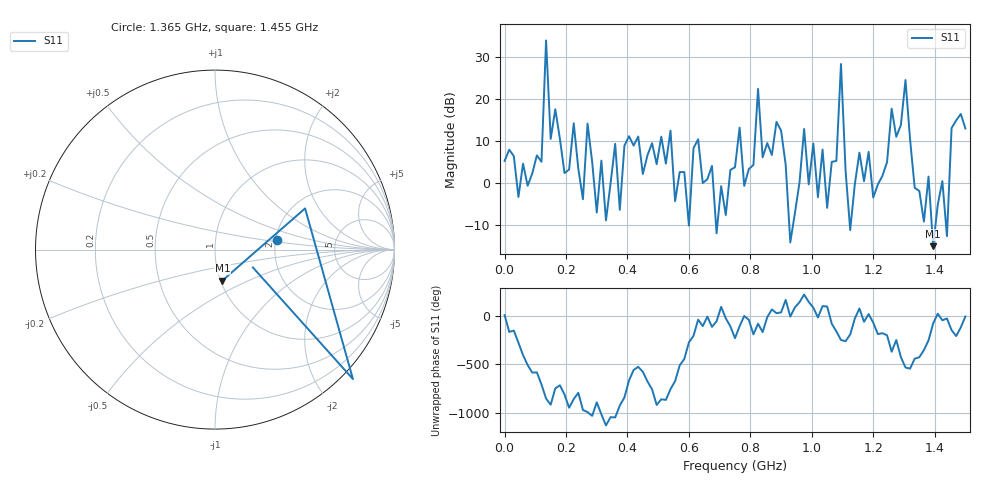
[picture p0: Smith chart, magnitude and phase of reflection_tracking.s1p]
! Created with skrf 1.8.0 (http://scikit-rf.org).
# Hz S RI R 50.0
!freq ReS11 ImS11
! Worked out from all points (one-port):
!   101 points, 50 kHz to 1.5 GHz, reference 50 ohm
!   lowest |S11| = -15.0 dB at 1.395 GHz (marker M1), VSWR 1.43, Z = 51 - j18.2 ohm
!   |S11| at or under -10 dB: 599.8719 MHz to 600.1392 MHz (267.3 kHz wide, 0.0446 % of centre); 688.2 MHz to 692.7 MHz (4.467 MHz wide, 0.647 % of centre); 926.7 MHz to 938.9 MHz (12.24 MHz wide, 1.31 % of centre) (the widest 3 of 6)
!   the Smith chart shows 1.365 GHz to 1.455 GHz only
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50000  1.801 0.3312
1.20046e8  1.747 0.3812
1.350455e8  -34.09 -36.04
1.50045e8  -3.197 1.001
1.650445e8  6.629 -3.606
1.950435e8  -0.0433 -1.313
2.70041e8  0.3446 5.08
3.750375e8  -0.4322 0.2087
5.70031e8  -1.168 -0.6793
7.50025e8  -1.024 1.152
8.10023e8  -1.619 0.2706
8.250225e8  2.643 -12.9
8.40022e8  -1.958 -0.5056
9.450185e8  -0.00322 0.438
1.080014e9  -1.702 -0.6814
1.095014e9  -9.808 24.1
1.110013e9  -0.2392 1.374
1.125012e9  -0.2712 0.0492
1.245008e9  -1.683 0.5685
1.260008e9  7.583 -1.138
1.275008e9  -1.344 3.286
1.290007e9  2.142 -4.403
1.305006e9  -16.64 -2.207
1.320006e9  -3.267 0.2114
1.395004e9  0.0409 -0.1727
1.470001e9  -4.972 2.495
1.485e9  -3.015 -5.905
1.5e9  4.44 -0.3211
